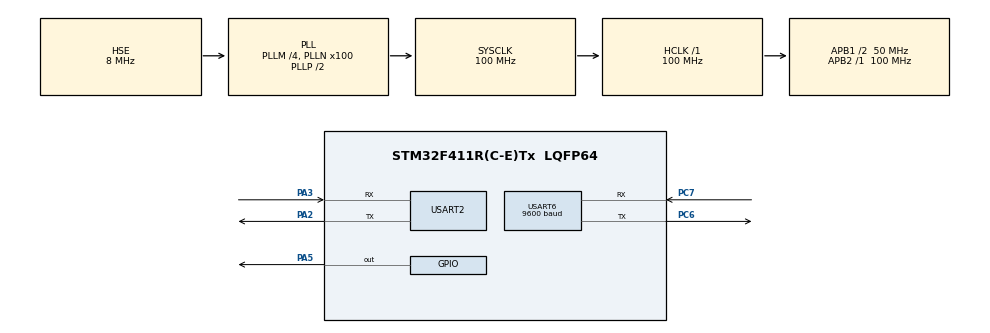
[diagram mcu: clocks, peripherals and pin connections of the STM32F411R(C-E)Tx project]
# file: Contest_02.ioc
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Dma.Request0=USART6_RX
Dma.Request1=USART6_TX
Dma.Request2=USART2_TX
Dma.Request3=USART2_RX
Dma.USART2_RX.3.Direction=DMA_PERIPH_TO_MEMORY
Dma.USART2_RX.3.FIFOMode=DMA_FIFOMODE_DISABLE
Dma.USART2_RX.3.Instance=DMA1_Stream5
Dma.USART2_RX.3.MemDataAlignment=DMA_MDATAALIGN_BYTE
Dma.USART2_RX.3.MemInc=DMA_MINC_ENABLE
Dma.USART2_RX.3.Mode=DMA_NORMAL
Dma.USART2_RX.3.PeriphDataAlignment=DMA_PDATAALIGN_BYTE
Dma.USART2_RX.3.PeriphInc=DMA_PINC_DISABLE
Dma.USART2_RX.3.Priority=DMA_PRIORITY_LOW
Dma.USART2_TX.2.Direction=DMA_MEMORY_TO_PERIPH
Dma.USART2_TX.2.FIFOMode=DMA_FIFOMODE_DISABLE
Dma.USART2_TX.2.Instance=DMA1_Stream6
Dma.USART2_TX.2.MemDataAlignment=DMA_MDATAALIGN_BYTE
Dma.USART2_TX.2.MemInc=DMA_MINC_ENABLE
Dma.USART2_TX.2.Mode=DMA_NORMAL
Dma.USART2_TX.2.PeriphDataAlignment=DMA_PDATAALIGN_BYTE
Dma.USART2_TX.2.PeriphInc=DMA_PINC_DISABLE
Dma.USART2_TX.2.Priority=DMA_PRIORITY_LOW
Dma.USART6_RX.0.Direction=DMA_PERIPH_TO_MEMORY
Dma.USART6_RX.0.FIFOMode=DMA_FIFOMODE_DISABLE
Dma.USART6_RX.0.Instance=DMA2_Stream1
Dma.USART6_RX.0.MemDataAlignment=DMA_MDATAALIGN_BYTE
Dma.USART6_RX.0.MemInc=DMA_MINC_ENABLE
Dma.USART6_RX.0.Mode=DMA_NORMAL
Dma.USART6_RX.0.PeriphDataAlignment=DMA_PDATAALIGN_BYTE
Dma.USART6_RX.0.PeriphInc=DMA_PINC_DISABLE
Dma.USART6_RX.0.Priority=DMA_PRIORITY_LOW
Dma.USART6_TX.1.Direction=DMA_MEMORY_TO_PERIPH
Dma.USART6_TX.1.FIFOMode=DMA_FIFOMODE_DISABLE
Dma.USART6_TX.1.Instance=DMA2_Stream6
Dma.USART6_TX.1.MemDataAlignment=DMA_MDATAALIGN_BYTE
Dma.USART6_TX.1.MemInc=DMA_MINC_ENABLE
Dma.USART6_TX.1.Mode=DMA_NORMAL
Dma.USART6_TX.1.PeriphDataAlignment=DMA_PDATAALIGN_BYTE
Dma.USART6_TX.1.PeriphInc=DMA_PINC_DISABLE
Dma.USART6_TX.1.Priority=DMA_PRIORITY_LOW
Mcu.Family=STM32F4
Mcu.Name=STM32F411R(C-E)Tx
Mcu.Package=LQFP64
NVIC.DMA1_Stream5_IRQn=true\:0\:0\:false\:false\:true\:false\:true\:true
NVIC.DMA1_Stream6_IRQn=true\:0\:0\:false\:false\:true\:false\:true\:true
NVIC.DMA2_Stream1_IRQn=true\:0\:0\:false\:false\:true\:false\:true\:true
NVIC.DMA2_Stream6_IRQn=true\:0\:0\:false\:false\:true\:false\:true\:true
NVIC.PriorityGroup=NVIC_PRIORITYGROUP_4
NVIC.USART2_IRQn=true\:0\:0\:false\:false\:true\:true\:true\:true
NVIC.USART6_IRQn=true\:0\:0\:false\:false\:true\:true\:true\:true
PA13.Mode=Serial_Wire
PA13.Signal=SYS_JTMS-SWDIO
PA14.Mode=Serial_Wire
PA14.Signal=SYS_JTCK-SWCLK
PA2.Mode=Asynchronous
PA2.Signal=USART2_TX
PA3.Mode=Asynchronous
PA3.Signal=USART2_RX
PA5.Signal=GPIO_Output
PC6.Mode=Asynchronous
PC6.Signal=USART6_TX
PC7.Mode=Asynchronous
PC7.Signal=USART6_RX
PH0\ -\ OSC_IN.Mode=HSE-External-Oscillator
PH0\ -\ OSC_IN.Signal=RCC_OSC_IN
PH1\ -\ OSC_OUT.Mode=HSE-External-Oscillator
PH1\ -\ OSC_OUT.Signal=RCC_OSC_OUT
ProjectManager.HeapSize=0x200
ProjectManager.StackSize=0x400
ProjectManager.TargetToolchain=STM32CubeIDE
RCC.48MHZClocksFreq_Value=50000000
RCC.AHBFreq_Value=100000000
RCC.APB1CLKDivider=RCC_HCLK_DIV2
RCC.APB1Freq_Value=50000000
RCC.APB1TimFreq_Value=100000000
RCC.APB2Freq_Value=100000000
RCC.APB2TimFreq_Value=100000000
RCC.CortexFreq_Value=100000000
RCC.HCLKFreq_Value=100000000
RCC.HSE_VALUE=8000000
RCC.HSI_VALUE=16000000
RCC.LSE_VALUE=32768
RCC.PLLM=4
RCC.PLLN=100
RCC.PLLSourceVirtual=RCC_PLLSOURCE_HSE
RCC.SYSCLKFreq_VALUE=100000000
RCC.SYSCLKSource=RCC_SYSCLKSOURCE_PLLCLK
RCC.VCOOutputFreq_Value=200000000
USART2.VirtualMode=VM_ASYNC
USART6.BaudRate=9600
USART6.VirtualMode=VM_ASYNC
board=custom

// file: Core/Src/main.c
/* USER CODE BEGIN Header */
/**
  ******************************************************************************
  * @file           : main.c
  * @brief          : Main program body
  ******************************************************************************
  * @attention
  *
  * Copyright (c) 2026 STMicroelectronics.
  * All rights reserved.
  *
  * This software is licensed under terms that can be found in the LICENSE file
  * in the root directory of this software component.
  * If no LICENSE file comes with this software, it is provided AS-IS.
  *
  ******************************************************************************
  */
/* USER CODE END Header */
#include "main.h"
#include "dma.h"
#include "usart.h"
#include "gpio.h"

/* USER CODE BEGIN Includes */

#include <stdio.h>
#include <string.h>

/* USER CODE END Includes */

/* USER CODE BEGIN PD */

//#define BUFFER_SIZE 128
//
//uint8_t rx6_buffer[BUFFER_SIZE]; // USART6 -> USART2 전용
//uint8_t rx2_buffer[BUFFER_SIZE]; // USART2 -> USART6 전용

#define BUFFER_SIZE 256
uint8_t rx6_buffer[BUFFER_SIZE];
uint8_t rx2_buffer[BUFFER_SIZE];

/* USER CODE END PD */

void SystemClock_Config(void);
/* USER CODE BEGIN PFP */

/* USER CODE BEGIN PFP */

/* USER CODE END PFP */

int main(void)
{

  /* MCU Configuration--------------------------------------------------------*/

  /* Reset of all peripherals, Initializes the Flash interface and the Systick. */
  HAL_Init();

  /* Configure the system clock */
  SystemClock_Config();

  /* Initialize all configured peripherals */
  MX_GPIO_Init();
  MX_DMA_Init();
  MX_USART2_UART_Init();
  MX_USART6_UART_Init();
  /* USER CODE BEGIN 2 */

  // USART6 수신 시작 (IDLE 감지 모드)
  HAL_UARTEx_ReceiveToIdle_DMA(&huart6, rx6_buffer, BUFFER_SIZE);

  // USART2 수신 시작 (IDLE 감지 모드)
  HAL_UARTEx_ReceiveToIdle_DMA(&huart2, rx2_buffer, BUFFER_SIZE);

  /* USER CODE END 2 */

  /* Infinite loop */
  while (1)
  {

  }
}

void SystemClock_Config(void)
{
  RCC_OscInitTypeDef RCC_OscInitStruct = {0};
  RCC_ClkInitTypeDef RCC_ClkInitStruct = {0};

  /** Configure the main internal regulator output voltage
  */
  __HAL_RCC_PWR_CLK_ENABLE();
  __HAL_PWR_VOLTAGESCALING_CONFIG(PWR_REGULATOR_VOLTAGE_SCALE1);

  /** Initializes the RCC Oscillators according to the specified parameters
  * in the RCC_OscInitTypeDef structure.
  */
  RCC_OscInitStruct.OscillatorType = RCC_OSCILLATORTYPE_HSE;
  RCC_OscInitStruct.HSEState = RCC_HSE_ON;
  RCC_OscInitStruct.PLL.PLLState = RCC_PLL_ON;
  RCC_OscInitStruct.PLL.PLLSource = RCC_PLLSOURCE_HSE;
  RCC_OscInitStruct.PLL.PLLM = 4;
  RCC_OscInitStruct.PLL.PLLN = 100;
  RCC_OscInitStruct.PLL.PLLP = RCC_PLLP_DIV2;
  RCC_OscInitStruct.PLL.PLLQ = 4;
  if (HAL_RCC_OscConfig(&RCC_OscInitStruct) != HAL_OK)
  {
    Error_Handler();
  }

  /** Initializes the CPU, AHB and APB buses clocks
  */
  RCC_ClkInitStruct.ClockType = RCC_CLOCKTYPE_HCLK|RCC_CLOCKTYPE_SYSCLK
                              |RCC_CLOCKTYPE_PCLK1|RCC_CLOCKTYPE_PCLK2;
  RCC_ClkInitStruct.SYSCLKSource = RCC_SYSCLKSOURCE_PLLCLK;
  RCC_ClkInitStruct.AHBCLKDivider = RCC_SYSCLK_DIV1;
  RCC_ClkInitStruct.APB1CLKDivider = RCC_HCLK_DIV2;
  RCC_ClkInitStruct.APB2CLKDivider = RCC_HCLK_DIV1;

  if (HAL_RCC_ClockConfig(&RCC_ClkInitStruct, FLASH_LATENCY_3) != HAL_OK)
  {
    Error_Handler();
  }
}

/* USER CODE BEGIN 4 */
//void HAL_UARTEx_RxEventCallback(UART_HandleTypeDef *huart, uint16_t Size)
//{
//    if (huart->Instance == USART6) // USART6으로 데이터가 들어왔다면
//    {
//        // USART2로 즉시 전달
//        HAL_UART_Transmit_DMA(&huart2, rx6_buffer, Size);
//
//        // 다시 USART6 수신 대기 (중요: 다시 호출해야 계속 작동함)
//        HAL_UARTEx_ReceiveToIdle_DMA(&huart6, rx6_buffer, BUFFER_SIZE);
//    }
//    else if (huart->Instance == USART2) // USART2로 데이터가 들어왔다면
//    {
//        // USART6으로 즉시 전달
//        HAL_UART_Transmit_DMA(&huart6, rx2_buffer, Size);
//
//        // 다시 USART2 수신 대기
//        HAL_UARTEx_ReceiveToIdle_DMA(&huart2, rx2_buffer, BUFFER_SIZE);
//    }
//}

void HAL_UARTEx_RxEventCallback(UART_HandleTypeDef *huart, uint16_t Size)
{
    if (huart->Instance == USART6)
    {
        // 1. USART2로 데이터 전송 (Timeout을 넉넉히 줌)
        HAL_UART_Transmit(&huart2, rx6_buffer, Size, 100);

        // 2. 버퍼를 0으로 초기화해서 이전 데이터가 남지 않게 함 (쌓임 방지 핵심)
        memset(rx6_buffer, 0, BUFFER_SIZE);

        // 3. 다시 수신 시작
        HAL_UARTEx_ReceiveToIdle_DMA(&huart6, rx6_buffer, BUFFER_SIZE);
    }
    else if (huart->Instance == USART2)
    {
        HAL_UART_Transmit(&huart6, rx2_buffer, Size, 100);
        memset(rx2_buffer, 0, BUFFER_SIZE);
        HAL_UARTEx_ReceiveToIdle_DMA(&huart2, rx2_buffer, BUFFER_SIZE);
    }
}

// 에러 발생 시 재시작 로직 (통신 안정성을 위해 추가)
void HAL_UART_ErrorCallback(UART_HandleTypeDef *huart)
{
    if (huart->Instance == USART6) {
        HAL_UARTEx_ReceiveToIdle_DMA(&huart6, rx6_buffer, BUFFER_SIZE);
    } else if (huart->Instance == USART2) {
        HAL_UARTEx_ReceiveToIdle_DMA(&huart2, rx2_buffer, BUFFER_SIZE);
    }
}
/* USER CODE END 4 */

void Error_Handler(void)
{
  __disable_irq();
  while (1)
  {
  }
}
